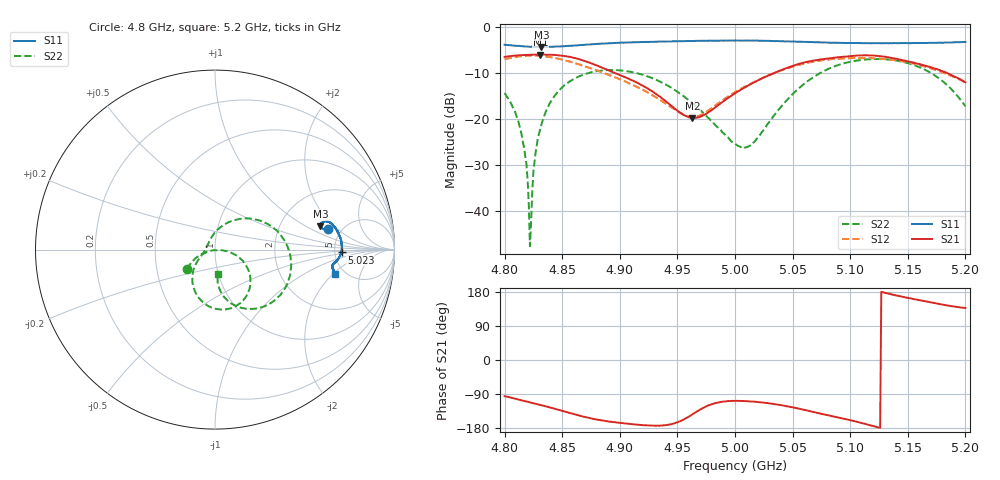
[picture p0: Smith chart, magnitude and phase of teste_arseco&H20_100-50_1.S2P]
! Network Analyzer HP8722D
! Hewlett-Packard
! Data name: Linha & Wilkinson
! Saver's name: Rodrigo Anjos
! Comments: Teste da utilização de aquisição
! continua pelo VNA HP8722D
! Time and date: 6/5/2025 12:34
!  Frequency  S11  S21  S12  S22
# HZ  S  MA R 50
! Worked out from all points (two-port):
!   401 points, 4.8 GHz to 5.2 GHz, reference 50 ohm
!   highest |S21| = -6.05 dB at 4.831 GHz (marker M1); lowest = -19.8 dB at 4.963 GHz (marker M2)
!   |S21| within 3 dB of the highest: start of sweep to 4.886 GHz; 5.044 GHz to 5.173 GHz (129 MHz wide, 2.53 % of centre)
!   lowest |S11| = -4.4 dB at 4.832 GHz (marker M3), VSWR 4.01, Z = 170 + j69.2 ohm
!   |S11| at or under -10 dB: nowhere
!   |S22| runs from -47.6 to -7.0 dB; largest |S21 - S12| = 0.11
!   S11 on the Smith chart (normalised r, x): 4.8 GHz: 3.92, +1.49; 5.023 GHz: 5.76, -0.37; 5.2 GHz: 4.16, -2.10
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4.8e9  0.6376 10.2  0.47 -95.4  0.4436 -81.5  0.1905 -145.3
4.814e9  0.6143 10.7  0.4905 -105.7  0.477 -94.4  0.07425 -161.2
4.818e9  0.6097 11.1  0.4932 -108.7  0.4831 -98.4  0.03864 -164.2
4.821e9  0.6072 11.4  0.4951 -111.1  0.4844 -101.4  0.01179 -162.3
4.822e9  0.6043 11.3  0.4946 -111.9  0.4855 -102.4  0.004148 -130.6
4.824e9  0.6042 11.7  0.496 -113.5  0.4865 -104.5  0.01618 -12.1
4.827e9  0.6024 12.0  0.4962 -115.5  0.4849 -107.5  0.04408 -4.9
4.831e9  0.6013 12.4  0.4983 -118.7  0.4825 -111.2  0.07874 -10.2
4.832e9  0.6012 12.5  0.4978 -119.6  0.4813 -112.4  0.08724 -10.1
4.845e9  0.6083 13.8  0.492 -129.8  0.4537 -124.4  0.1888 -25.8
4.867e9  0.6303 14.3  0.4343 -148.5  0.3802 -140.4  0.2972 -50.5
4.899e9  0.6688 12.3  0.3022 -165.5  0.2721 -155.7  0.3362 -82.8
4.934e9  0.6906 8.9  0.1767 -173.4  0.1636 -160.1  0.2568 -115.9
4.963e9  0.6988 5.9  0.102 -143.4  0.1046 -131.6  0.1472 -139.9
5e9  0.7077 1.7  0.1889 -107.9  0.1951 -101.9  0.05369 178.8
5.012e9  0.7062 0.0  0.2321 -109.0  0.2348 -103.8  0.05025 140.9
5.023e9  0.705 -1.3  0.2728 -112.1  0.2738 -107.1  0.07116 106.9
5.067e9  0.68 -5.3  0.4263 -136.5  0.4156 -131.8  0.2771 37.5
5.101e9  0.6643 -6.8  0.4801 -159.5  0.4544 -155.4  0.4185 -3.3
5.134e9  0.6612 -7.9  0.4625 174.7  0.4415 -178.2  0.438 -38.7
5.17e9  0.6669 -9.6  0.3631 152.1  0.3529 158.5  0.3152 -73.0
5.2e9  0.6811 -11.5  0.2485 137.2  0.2493 145.0  0.1372 -83.1
